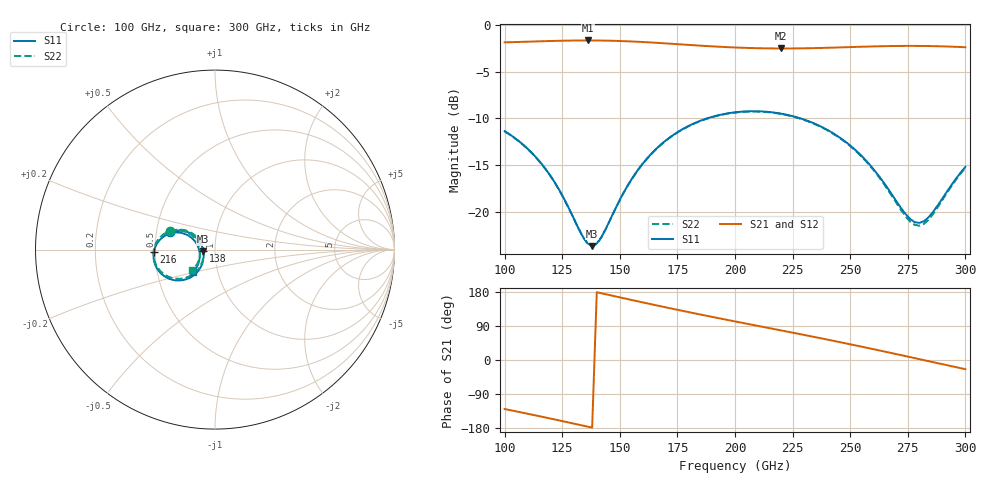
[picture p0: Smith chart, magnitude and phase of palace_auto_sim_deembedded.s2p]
! Created with skrf 1.11.0 (http://scikit-rf.org).
# GHz S DB R 50.0
!freq dBS11 angS11 dBS21 angS21 dBS12 angS12 dBS22 angS22
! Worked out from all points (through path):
!   101 points, 100 GHz to 300 GHz, reference 50 ohm
!   highest |S21| = -1.66 dB at 136 GHz (marker M1); lowest = -2.5 dB at 220 GHz (marker M2)
!   group delay of S21, straight-line fit = 3.5 ps
!   lowest |S11| = -23.6 dB at 138 GHz (marker M3), VSWR 1.14, Z = 43.9 - j0.872 ohm
!   |S11| at or under -10 dB: start of sweep to 187.9 GHz; 228.4 GHz to end of sweep
!   |S22| runs from -23.7 to -9.3 dB; largest |S21 - S12| = 8.6e-14
!   S11 on the Smith chart (normalised r, x): 100 GHz: 0.59, +0.12; 138 GHz: 0.88, -0.02; 216 GHz: 0.49, -0.02; 300 GHz: 0.76, -0.19
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100  -11.37 159.1  -1.86 -129.4  -1.86 -129.4  -11.39 157.7
110  -13.25 150.9  -1.79 -141.8  -1.79 -141.8  -13.27 149.3
118  -15.49 146.7  -1.73 -152.1  -1.73 -152.1  -15.51 145.0
124  -17.78 147.0  -1.69 -159.9  -1.69 -159.9  -17.80 145.2
134  -22.68 167.5  -1.66 -173.2  -1.66 -173.2  -22.71 165.5
136  -23.38 177.3  -1.66 -175.9  -1.66 -175.9  -23.40 175.3
138  -23.64 -171.3  -1.66 -178.6  -1.66 -178.6  -23.68 -173.3
142  -22.72 -150.0  -1.67 176.1  -1.67 176.1  -22.75 -152.0
152  -17.79 -129.0  -1.74 162.6  -1.74 162.6  -17.82 -131.1
160  -14.82 -129.3  -1.83 152.0  -1.83 152.0  -14.85 -131.6
168  -12.77 -134.1  -1.94 141.5  -1.94 141.5  -12.79 -136.5
184  -10.35 -147.9  -2.20 121.2  -2.20 121.2  -10.38 -150.5
200  -9.35 -162.9  -2.41 101.8  -2.41 101.8  -9.38 -165.8
216  -9.35 -177.7  -2.51 82.8  -2.51 82.8  -9.38 179.1
220  -9.49 178.7  -2.52 78.1  -2.52 78.1  -9.53 175.4
234  -10.50 166.5  -2.48 61.3  -2.48 61.3  -10.54 163.0
252  -13.32 154.2  -2.35 38.9  -2.35 38.9  -13.39 150.2
268  -18.10 156.7  -2.26 18.2  -2.26 18.2  -18.26 152.3
276  -20.76 175.1  -2.24 7.6  -2.24 7.6  -21.04 171.0
280  -21.19 -169.8  -2.24 2.3  -2.24 2.3  -21.49 -173.4
286  -20.00 -149.2  -2.27 -5.7  -2.27 -5.7  -20.22 -152.2
300  -15.18 -134.7  -2.39 -24.2  -2.39 -24.2  -15.27 -138.0
